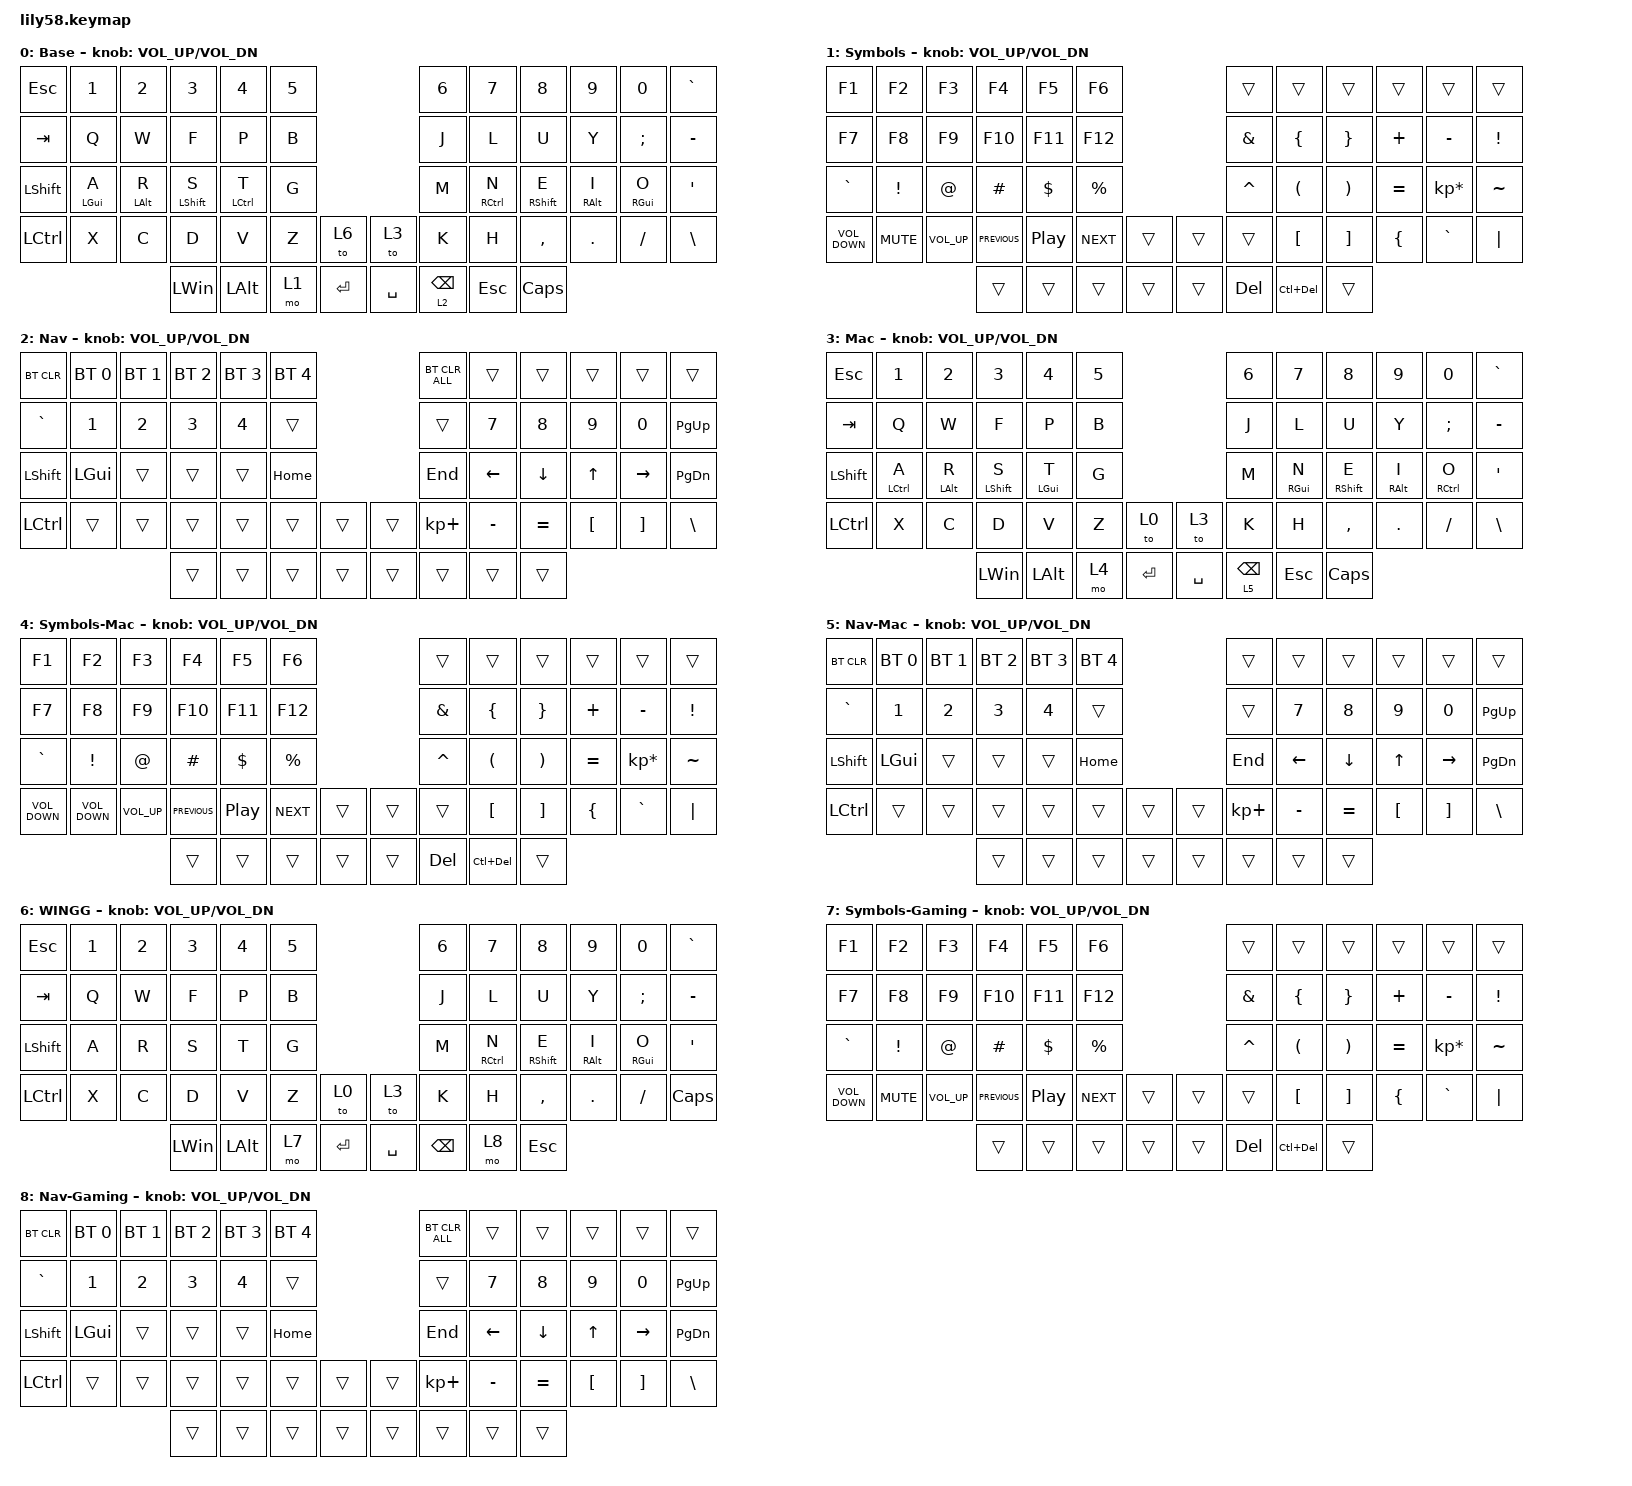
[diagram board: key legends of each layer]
/*
 * Copyright (c) 2020 The ZMK Contributors
 *
 * SPDX-License-Identifier: MIT
 */

#include <behaviors.dtsi>
#include <dt-bindings/zmk/bt.h>
#include <dt-bindings/zmk/keys.h>

&mt {
    tapping-term-ms = <250>;
    flavor = "tap-preferred";
    quick-tap-ms = <150>;
};

/ {
    keymap {
        compatible = "zmk,keymap";

        Main-WIN {
            // ------------------------------------------------------------------------------------------------------------
            // |  ESC  |  1  |  2  |  3   |  4   |  5   |                   |  6   |  7    |  8    |  9   |   0   |   `   |
            // |  TAB  |  Q  |  W  |  E   |  R   |  T   |                   |  Y   |  U    |  I    |  O   |   P   |   -   |
            // |  CTRL |  A  |  S  |  D   |  F   |  G   |                   |  H   |  J    |  K    |  L   |   ;   |   '   |
            // | SHIFT |  Z  |  X  |  C   |  V   |  B   |   "["  |  |  "]"  |  N   |  M    |  ,    |  .   |   /   | SHIFT |
            //                     | ALT  | GUI  | LOWER|  SPACE |  | ENTER | RAISE| BSPC  | GUI   |

            display-name = "Base";
            bindings = <
&kp ESC     &kp N1          &kp N2          &kp N3        &kp N4              &kp N5                          &kp N6           &kp N7               &kp N8             &kp N9           &kp N0           &kp GRAVE
&kp TAB     &kp Q           &kp W           &kp F         &kp P               &kp B                           &kp J            &kp L                &kp U              &kp Y            &kp SEMICOLON    &kp MINUS
&kp LSHIFT  &mt LEFT_GUI A  &mt LEFT_ALT R  &mt LSHIFT S  &mt LEFT_CONTROL T  &kp G                           &kp M            &mt RIGHT_CONTROL N  &mt RIGHT_SHIFT E  &mt RIGHT_ALT I  &mt RIGHT_GUI O  &kp SQT
&kp LCTRL   &kp X           &kp C           &kp D         &kp V               &kp Z   &to 6        &to 3      &kp K            &kp H                &kp COMMA          &kp PERIOD       &kp FSLH         &kp BACKSLASH
                                            &kp LEFT_WIN  &kp LEFT_ALT        &mo 1   &kp ENTER    &kp SPACE  &lt 2 BACKSPACE  &kp ESC              &kp CAPSLOCK
            >;

            sensor-bindings = <&inc_dec_kp C_VOL_UP C_VOL_DN>;
            label = "WIN";
        };

        Symbols {
            // ------------------------------------------------------------------------------------------------------------
            // | BTCLR | BT1 | BT2 |  BT3 |  BT4 |  BT5 |                   |      |       |       |      |       |       |
            // |  F1   |  F2 |  F3 |  F4  |  F5  |  F6  |                   |  F7  |  F8   |  F9   |  F10 |  F11  |  F12  |
            // |   `   |  !  |  @  |  #   |  $   |  %   |                   |  ^   |  &    |  *    |  (   |   )   |   ~   |
            // |       |     |     |      |      |      |        |  |       |      |  _    |  +    |  {   |   }   |  "|"  |
            //                     |      |      |      |        |  |       |      |       |       |

            display-name = "Symbols";
            bindings = <
&kp F1             &kp F2      &kp F3           &kp F4          &kp F5            &kp F6                        &trans         &trans                &trans                 &trans     &trans           &trans
&kp F7             &kp F8      &kp F9           &kp F10         &kp F11           &kp F12                       &kp AMPERSAND  &kp LEFT_BRACE        &kp RIGHT_BRACE        &kp PLUS   &kp MINUS        &kp EXCLAMATION
&kp GRAVE          &kp EXCL    &kp AT           &kp HASH        &kp DOLLAR        &kp PRCNT                     &kp CARET      &kp LEFT_PARENTHESIS  &kp RIGHT_PARENTHESIS  &kp EQUAL  &kp KP_ASTERISK  &kp TILDE
&kp C_VOLUME_DOWN  &kp C_MUTE  &kp C_VOLUME_UP  &kp C_PREVIOUS  &kp C_PLAY_PAUSE  &kp C_NEXT  &trans    &trans  &trans         &kp LEFT_BRACKET      &kp RIGHT_BRACKET      &kp LBRC   &kp GRAVE        &kp PIPE
                                                &trans          &trans            &trans      &trans    &trans  &kp DELETE     &kp LC(DELETE)        &trans
            >;

            sensor-bindings = <&inc_dec_kp C_VOL_UP C_VOL_DN>;
        };

        Nav {
            // ------------------------------------------------------------------------------------------------------------
            // |       |     |     |      |      |      |                   |      |       |       |      |       |       |
            // |   `   |  1  |  2  |  3   |  4   |  5   |                   |  6   |   7   |   8   |  9   |   0   |       |
            // |   F1  |  F2 |  F3 |  F4  |  F5  |  F6  |                   |      |   <-  |   v   |  ^   |  ->   |       |
            // |   F7  |  F8 |  F9 |  F10 |  F11 |  F12 |        |  |       |  +   |   -   |   =   |  [   |   ]   |   \   |
            //                     |      |      |      |        |  |       |      |       |       |

            display-name = "Nav";
            bindings = <
&bt BT_CLR        &bt BT_SEL 0  &bt BT_SEL 1  &bt BT_SEL 2  &bt BT_SEL 3  &bt BT_SEL 4                    &bt BT_CLR_ALL  &trans     &trans     &trans    &trans     &trans
&kp GRAVE         &kp N1        &kp N2        &kp N3        &kp N4        &trans                          &trans          &kp N7     &kp N8     &kp N9    &kp N0     &kp PAGE_UP
&kp LEFT_SHIFT    &kp LEFT_GUI  &trans        &trans        &trans        &kp HOME                        &kp END         &kp LEFT   &kp DOWN   &kp UP    &kp RIGHT  &kp PAGE_DOWN
&kp LEFT_CONTROL  &trans        &trans        &trans        &trans        &trans        &trans    &trans  &kp KP_PLUS     &kp MINUS  &kp EQUAL  &kp LBKT  &kp RBKT   &kp BSLH
                                              &trans        &trans        &trans        &trans    &trans  &trans          &trans     &trans
            >;

            sensor-bindings = <&inc_dec_kp C_VOL_UP C_VOL_DN>;
        };

        MAC {
            label = "MAC";
            display-name = "Mac";
            bindings = <
&kp ESC     &kp N1              &kp N2          &kp N3        &kp N4          &kp N5                          &kp N6           &kp N7           &kp N8             &kp N9           &kp N0               &kp GRAVE
&kp TAB     &kp Q               &kp W           &kp F         &kp P           &kp B                           &kp J            &kp L            &kp U              &kp Y            &kp SEMICOLON        &kp MINUS
&kp LSHIFT  &mt LEFT_CONTROL A  &mt LEFT_ALT R  &mt LSHIFT S  &mt LEFT_GUI T  &kp G                           &kp M            &mt RIGHT_GUI N  &mt RIGHT_SHIFT E  &mt RIGHT_ALT I  &mt RIGHT_CONTROL O  &kp SQT
&kp LCTRL   &kp X               &kp C           &kp D         &kp V           &kp Z   &to 0        &to 3      &kp K            &kp H            &kp COMMA          &kp PERIOD       &kp FSLH             &kp BACKSLASH
                                                &kp LEFT_WIN  &kp LEFT_ALT    &mo 4   &kp ENTER    &kp SPACE  &lt 5 BACKSPACE  &kp ESC          &kp CAPSLOCK
            >;

            sensor-bindings = <&inc_dec_kp C_VOL_UP C_VOL_DN>;
        };

        Symbols-Mac {
            display-name = "Symbols-Mac";
            bindings = <
&kp F1             &kp F2             &kp F3           &kp F4          &kp F5            &kp F6                        &trans         &trans                &trans                 &trans     &trans           &trans
&kp F7             &kp F8             &kp F9           &kp F10         &kp F11           &kp F12                       &kp AMPERSAND  &kp LEFT_BRACE        &kp RIGHT_BRACE        &kp PLUS   &kp MINUS        &kp EXCLAMATION
&kp GRAVE          &kp EXCL           &kp AT           &kp HASH        &kp DOLLAR        &kp PRCNT                     &kp CARET      &kp LEFT_PARENTHESIS  &kp RIGHT_PARENTHESIS  &kp EQUAL  &kp KP_ASTERISK  &kp TILDE
&kp K_VOLUME_DOWN  &kp K_VOLUME_DOWN  &kp K_VOLUME_UP  &kp C_PREVIOUS  &kp C_PLAY_PAUSE  &kp C_NEXT  &trans    &trans  &trans         &kp LEFT_BRACKET      &kp RIGHT_BRACKET      &kp LBRC   &kp GRAVE        &kp PIPE
                                                       &trans          &trans            &trans      &trans    &trans  &kp DELETE     &kp LC(DELETE)        &trans
            >;

            sensor-bindings = <&inc_dec_kp C_VOL_UP C_VOL_DN>;
        };

        Nav-Mac {
            display-name = "Nav-Mac";
            bindings = <
&bt BT_CLR        &bt BT_SEL 0  &bt BT_SEL 1  &bt BT_SEL 2  &bt BT_SEL 3  &bt BT_SEL 4                    &trans       &trans     &trans     &trans    &trans     &trans
&kp GRAVE         &kp N1        &kp N2        &kp N3        &kp N4        &trans                          &trans       &kp N7     &kp N8     &kp N9    &kp N0     &kp PAGE_UP
&kp LEFT_SHIFT    &kp LEFT_GUI  &trans        &trans        &trans        &kp HOME                        &kp END      &kp LEFT   &kp DOWN   &kp UP    &kp RIGHT  &kp PAGE_DOWN
&kp LEFT_CONTROL  &trans        &trans        &trans        &trans        &trans        &trans    &trans  &kp KP_PLUS  &kp MINUS  &kp EQUAL  &kp LBKT  &kp RBKT   &kp BSLH
                                              &trans        &trans        &trans        &trans    &trans  &trans       &trans     &trans
            >;

            sensor-bindings = <&inc_dec_kp C_VOL_UP C_VOL_DN>;
        };

        WinNoMods {
            label = "WINGaming";
            display-name = "WINGG";
            bindings = <
&kp ESC     &kp N1  &kp N2  &kp N3        &kp N4        &kp N5                          &kp N6         &kp N7               &kp N8             &kp N9           &kp N0           &kp GRAVE
&kp TAB     &kp Q   &kp W   &kp F         &kp P         &kp B                           &kp J          &kp L                &kp U              &kp Y            &kp SEMICOLON    &kp MINUS
&kp LSHIFT  &kp A   &kp R   &kp S         &kp T         &kp G                           &kp M          &mt RIGHT_CONTROL N  &mt RIGHT_SHIFT E  &mt RIGHT_ALT I  &mt RIGHT_GUI O  &kp SQT
&kp LCTRL   &kp X   &kp C   &kp D         &kp V         &kp Z   &to 0        &to 3      &kp K          &kp H                &kp COMMA          &kp PERIOD       &kp FSLH         &kp CAPSLOCK
                            &kp LEFT_WIN  &kp LEFT_ALT  &mo 7   &kp ENTER    &kp SPACE  &kp BACKSPACE  &mo 8                &kp ESCAPE
            >;

            sensor-bindings = <&inc_dec_kp C_VOL_UP C_VOL_DN>;
        };

        Symbols-Gaming {
            display-name = "Symbols-Gaming";
            bindings = <
&kp F1             &kp F2      &kp F3           &kp F4          &kp F5            &kp F6                        &trans         &trans                &trans                 &trans     &trans           &trans
&kp F7             &kp F8      &kp F9           &kp F10         &kp F11           &kp F12                       &kp AMPERSAND  &kp LEFT_BRACE        &kp RIGHT_BRACE        &kp PLUS   &kp MINUS        &kp EXCLAMATION
&kp GRAVE          &kp EXCL    &kp AT           &kp HASH        &kp DOLLAR        &kp PRCNT                     &kp CARET      &kp LEFT_PARENTHESIS  &kp RIGHT_PARENTHESIS  &kp EQUAL  &kp KP_ASTERISK  &kp TILDE
&kp C_VOLUME_DOWN  &kp C_MUTE  &kp C_VOLUME_UP  &kp C_PREVIOUS  &kp C_PLAY_PAUSE  &kp C_NEXT  &trans    &trans  &trans         &kp LEFT_BRACKET      &kp RIGHT_BRACKET      &kp LBRC   &kp GRAVE        &kp PIPE
                                                &trans          &trans            &trans      &trans    &trans  &kp DELETE     &kp LC(DELETE)        &trans
            >;

            sensor-bindings = <&inc_dec_kp C_VOL_UP C_VOL_DN>;
        };

        Nav-Gaming {
            display-name = "Nav-Gaming";
            bindings = <
&bt BT_CLR        &bt BT_SEL 0  &bt BT_SEL 1  &bt BT_SEL 2  &bt BT_SEL 3  &bt BT_SEL 4                    &bt BT_CLR_ALL  &trans     &trans     &trans    &trans     &trans
&kp GRAVE         &kp N1        &kp N2        &kp N3        &kp N4        &trans                          &trans          &kp N7     &kp N8     &kp N9    &kp N0     &kp PAGE_UP
&kp LEFT_SHIFT    &kp LEFT_GUI  &trans        &trans        &trans        &kp HOME                        &kp END         &kp LEFT   &kp DOWN   &kp UP    &kp RIGHT  &kp PAGE_DOWN
&kp LEFT_CONTROL  &trans        &trans        &trans        &trans        &trans        &trans    &trans  &kp KP_PLUS     &kp MINUS  &kp EQUAL  &kp LBKT  &kp RBKT   &kp BSLH
                                              &trans        &trans        &trans        &trans    &trans  &trans          &trans     &trans
            >;

            sensor-bindings = <&inc_dec_kp C_VOL_UP C_VOL_DN>;
        };
    };
};
